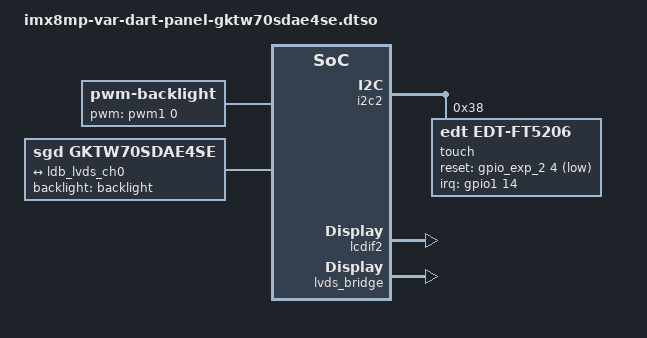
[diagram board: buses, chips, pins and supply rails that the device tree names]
// SPDX-License-Identifier: GPL-2.0-or-later OR MIT
/*
 * Copyright 2020-2021 Variscite Ltd.
 * Copyright 2023 Ideas on Board Oy
 */

/dts-v1/;
/plugin/;

#include <dt-bindings/gpio/gpio.h>
#include <dt-bindings/interrupt-controller/irq.h>
#include "imx8mp-pinfunc.h"

&{/} {
	backlight: backlight {
		compatible = "pwm-backlight";
		pwms = <&pwm1 0 1000000 0>;
	};

	panel {
		compatible = "sgd,gktw70sdae4se", "panel-lvds";
		backlight = <&backlight>;
		width-mm = <153>;
		height-mm = <87>;
		label = "gktw70sdae4se";
		data-mapping = "jeida-24";

		panel-timing {
			clock-frequency = <29232000>;
			hactive = <800>;
			vactive = <480>;
			hback-porch = <40>;
			hfront-porch = <40>;
			vback-porch = <29>;
			vfront-porch = <13>;
			hsync-len = <48>;
			vsync-len = <3>;
			hsync-active = <0>;
			vsync-active = <0>;
			de-active = <1>;
		};

		port {
			panel_in: endpoint {
				remote-endpoint = <&ldb_lvds_ch0>;
			};
		};
	};
};

&i2c2 {
	touch@38 {
		compatible = "edt,edt-ft5206";
		reg = <0x38>;

		pinctrl-names = "default";
		pinctrl-0 = <&pinctrl_captouch>;

		reset-gpios = <&gpio_exp_2 4 GPIO_ACTIVE_LOW>;
		interrupt-parent = <&gpio1>;
		interrupts = <14 IRQ_TYPE_EDGE_FALLING>;
		wakeup-source;

		touchscreen-size-x = <800>;
		touchscreen-size-y = <480>;
		touchscreen-inverted-x;
		touchscreen-inverted-y;
	};
};

&lcdif2 {
	/*
	 * The pixel clock should be configured by the lcdif driver, but the
	 * clock frequency propagation in the clock framework stops at the PIX2
	 * clock and doesn't reach the VIDEO_PLL1 clock. As a workaround, set
	 * the VIDEO_PLL1 rate manually.
	 *
	 * For a 60Hz refresh rate, the panel requires a pixel clock of 29.232
	 * MHz. The LVDS clock frequency is 7 times higher, or 204.624 MHz.
	 */
	assigned-clock-rates = <0>, <204624000>;
	status = "okay";
};

&ldb_lvds_ch0 {
	remote-endpoint = <&panel_in>;
};

&lvds_bridge {
	status = "okay";
};

&iomuxc {
	pinctrl_captouch: captouchgrp {
		fsl,pins = <
			MX8MP_IOMUXC_GPIO1_IO14__GPIO1_IO14				0x16
		>;
	};
};
